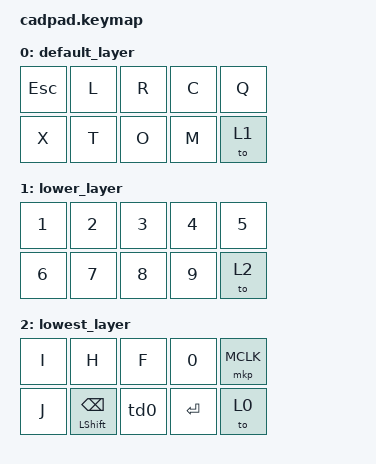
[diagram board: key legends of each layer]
// This file was generated from a template. Edit it to match your keyboard.
// See https://zmk.dev/docs/development/hardware-integration/new-shield for more instructions.

#include <behaviors.dtsi>
#include <dt-bindings/zmk/keys.h>
#include <dt-bindings/zmk/pointing.h>
#define default_layer 0
#define lower_layer 1
#define lowest_layer 2
#define MMB &mkp MCLK

/ {

    behaviors {
        td0: tap_dance_0 {
            compatible = "zmk,behavior-tap-dance";
            #binding-cells = <0>;
            tapping-term-ms = <200>;
            bindings = <&kp DOT>, <&kp MINUS>;
        };
    };

    // Define a default keymap here.
    // See https://zmk.dev/docs/development/hardware-integration/new-shield#default-keymap.
    keymap {
        compatible = "zmk,keymap";

        default_layer {
        //
        //  | ESC |  L  |  R  |  C  |  Q  |
        //  |  X  |  T  |  O  |  M  | SEC |
        //
            bindings = <
                &kp ESC &kp L &kp R &kp C &kp Q
                &kp X   &kp T &kp O &kp M &to 1
            >;
        };
        lower_layer {
        //
        //  |  1  |  2  |  3  |  4  |  5  |
        //  |  6  |  7  |  8  |  9  | TRI |
        //
            bindings = <
                &kp N1 &kp N2 &kp N3 &kp N4 &kp N5
                &kp N6 &kp N7 &kp N8 &kp N9 &to 2
            >;
        };
        lowest_layer {
        //
        //  |  I  |  H  |  F  |  0  | MMB |
        //  |  J  | LSH/BSP | ./- | RET | PRI |
        //
            bindings = <
                &kp I &kp H          &kp F &kp N0  &mkp MCLK
                &kp J &mt LSHFT BSPC &td0  &kp RET &to 0
            >;
        };
    };
};
